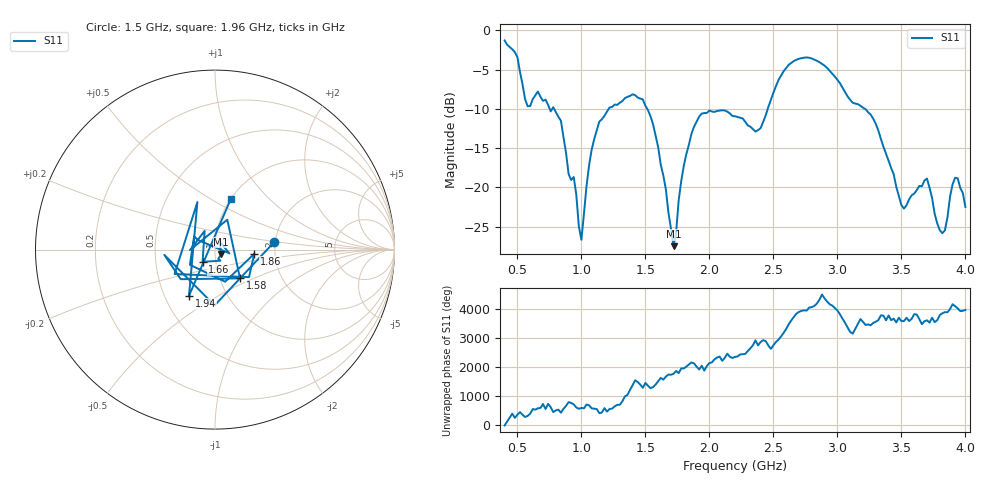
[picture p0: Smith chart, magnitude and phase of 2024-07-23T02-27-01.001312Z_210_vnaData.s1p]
!Created with skrf (http://scikit-rf.org).
# Hz S RI R 50.0
!freq ReS11 ImS11
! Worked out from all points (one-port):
!   181 points, 400 MHz to 4 GHz, reference 50 ohm
!   lowest |S11| = -27.5 dB at 1.72 GHz (marker M1), VSWR 1.09, Z = 53.5 - j2.68 ohm
!   |S11| at or under -10 dB: 787.3 MHz to 1.213 GHz (425.8 MHz wide, 42.6 % of centre); 1.515 GHz to 2.455 GHz (940.9 MHz wide, 47.4 % of centre); 3.217 GHz to end of sweep (the widest 3 of 4)
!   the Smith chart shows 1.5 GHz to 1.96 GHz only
!   S11 on the Smith chart (normalised r, x): 1.5 GHz: 1.97, +0.18; 1.58 GHz: 1.25, -0.42; 1.66 GHz: 0.86, -0.12; 1.86 GHz: 1.56, -0.08; 1.94 GHz: 0.66, -0.37; 1.96 GHz: 1.00, +0.62
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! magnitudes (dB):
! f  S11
! 400 MHz  -1.3
! 500 MHz  -3.4
! 580 MHz  -9.6
! 660 MHz  -7.8
! 860 MHz  -13.6
! 940 MHz  -18.7
! 1 GHz  -26.7
! 1.1 GHz  -13.8
! 1.3 GHz  -9.2
! 1.5 GHz  -9.6
! 1.58 GHz  -13.5
! 1.66 GHz  -20.3
! 1.72 GHz  -27.5
! 1.76 GHz  -21.6
! 1.86 GHz  -13.2
! 1.94 GHz  -10.6
! 1.96 GHz  -10.5
! 2.2 GHz  -10.9
! 2.4 GHz  -12.4
! 2.66 GHz  -3.9
! 3.1 GHz  -8.8
! 3.28 GHz  -11.2
! 3.5 GHz  -22.2
! 3.56 GHz  -21.5
! 3.7 GHz  -18.9
! 3.82 GHz  -25.8
! 3.92 GHz  -18.8
! 4 GHz  -22.5
